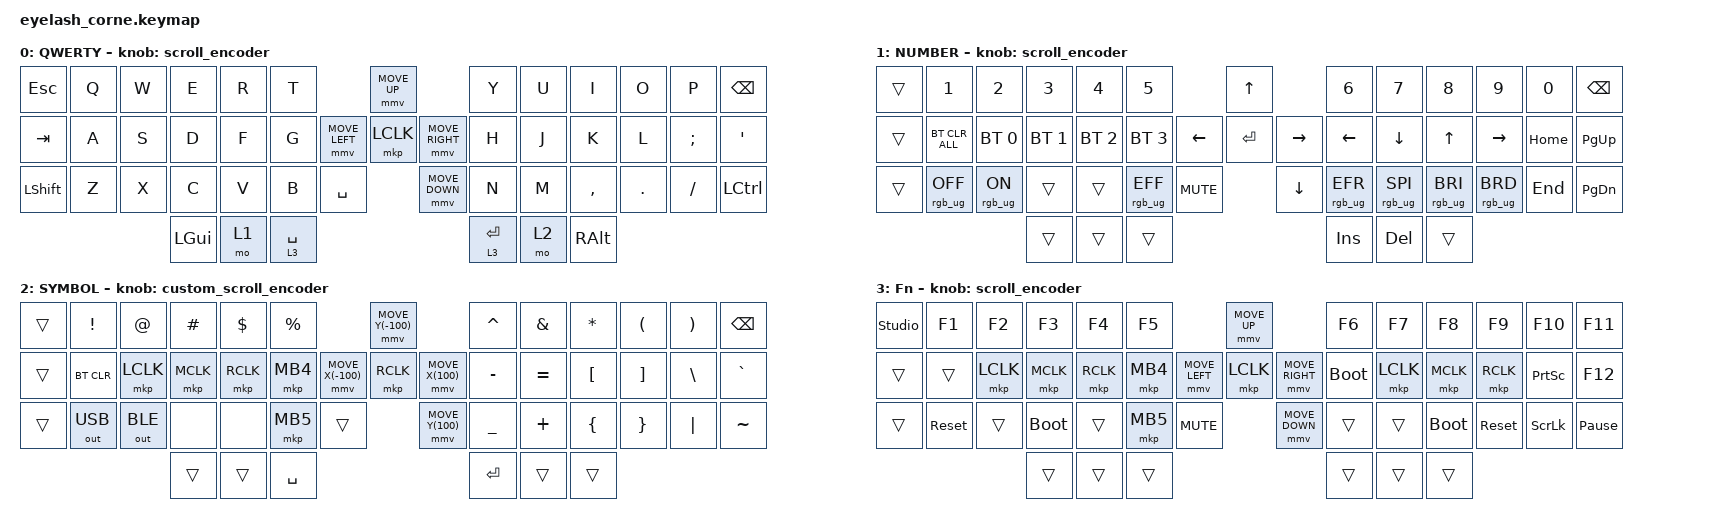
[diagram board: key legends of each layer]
#include <dt-bindings/zmk/mouse.h>
#include <input/processors.dtsi>
#include <behaviors.dtsi>
#include <dt-bindings/zmk/bt.h>
#include <dt-bindings/zmk/keys.h>
#include <dt-bindings/zmk/outputs.h>
#include <dt-bindings/zmk/pointing.h>
#include <dt-bindings/zmk/rgb.h>

#define ZMK_POINTING_DEFAULT_MOVE_VAL 1200  // default: 600
#define ZMK_POINTING_DEFAULT_SCRL_VAL 20    // default: 10

#include <dt-bindings/zmk/pointing.h>
/*

   &mmv_input_listener {
       input-processors = <&zip_xy_scaler 2 1>;
   };

   &msc_input_listener {
       input-processors = <&zip_xy_scaler 2 1>;
   };

 */

#define ZMK_MOUSE_DEFAULT_MOVE_VAL 1200  // 600
#define ZMK_MOUSE_DEFAULT_SCRL_VAL 20    // 10

/ {
    behaviors {
        td0: td0 {
            compatible = "zmk,behavior-tap-dance";
            display-name = "Shift/Caps Lock Tap Dance";
            #binding-cells = <0>;
            bindings = <&kp LEFT_SHIFT>, <&kp CAPS>;
        };
       rgb_encoder: rgb_encoder {
           compatible = "zmk,behavior-sensor-rotate";
           #sensor-binding-cells = <0>;
           bindings = <&rgb_ug RGB_BRI>, <&rgb_ug RGB_BRD>;
       };
   
       scroll_encoder: scroll_encoder {
           compatible = "zmk,behavior-sensor-rotate";
           #sensor-binding-cells = <0>;
           bindings = <&msc SCRL_DOWN>, <&msc SCRL_UP>;
   
           tap-ms = <30>;
       };
   
       custom_scroll_encoder: custom_scroll_encoder {
          compatible = "zmk,behavior-sensor-rotate";
          #sensor-binding-cells = <0>;
          bindings = <&msc SCRL_RIGHT>, <&msc SCRL_LEFT>;
   
          tap-ms = <30>;
       };
    };





    keymap {
        compatible = "zmk,keymap";

        default_layer {
            display-name = "QWERTY";
            bindings = <
&kp ESC    &kp Q  &kp W  &kp E     &kp R  &kp T                                     &mmv MOVE_UP                     &kp Y        &kp U  &kp I      &kp O    &kp P     &kp BSPC
&kp TAB    &kp A  &kp S  &kp D     &kp F  &kp G                     &mmv MOVE_LEFT  &mkp LCLK       &mmv MOVE_RIGHT  &kp H        &kp J  &kp K      &kp L    &kp SEMI  &kp SQT
&kp LSHFT  &kp Z  &kp X  &kp C     &kp V  &kp B        &kp SPACE                    &mmv MOVE_DOWN                   &kp N        &kp M  &kp COMMA  &kp DOT  &kp FSLH  &kp LCTRL
                         &kp LGUI  &mo 1  &lt 3 SPACE                                                                &lt 3 ENTER  &mo 2  &kp RALT
            >;

            sensor-bindings = <&scroll_encoder>;
        };

        lower_layer {
            display-name = "NUMBER";
            bindings = <
&trans  &kp N1           &kp N2          &kp N3        &kp N4        &kp N5                                         &kp UP_ARROW               &kp N6           &kp N7           &kp N8           &kp N9           &kp N0    &kp BSPC
&trans  &bt BT_CLR_ALL   &bt BT_SEL 0    &bt BT_SEL 1  &bt BT_SEL 2  &bt BT_SEL 3                   &kp LEFT_ARROW  &kp ENTER       &kp RIGHT  &kp LEFT         &kp DOWN         &kp UP           &kp RIGHT        &kp HOME  &kp PG_UP
&trans  &rgb_ug RGB_OFF  &rgb_ug RGB_ON  &trans        &trans        &rgb_ug RGB_EFF  &kp C_MUTE                    &kp DOWN_ARROW             &rgb_ug RGB_EFR  &rgb_ug RGB_SPI  &rgb_ug RGB_BRI  &rgb_ug RGB_BRD  &kp END   &kp PG_DN
                                         &trans        &trans        &trans                                                                    &kp INS          &kp DEL          &trans
            >;

            sensor-bindings = <&scroll_encoder>;
        };

        raise_layer {
            display-name = "SYMBOL";
            bindings = <
&trans  &kp EXCL      &kp AT        &kp HASH   &kp DLLR   &kp PRCNT                            &mmv MOVE_Y(-100)                     &kp CARET  &kp AMPS   &kp ASTRK  &kp LPAR  &kp RPAR  &kp BSPC
&trans  &bt BT_CLR    &mkp LCLK     &mkp MCLK  &mkp RCLK  &mkp MB4             &mmv MOVE_X(-100)  &mkp RCLK       &mmv MOVE_X(100)  &kp MINUS  &kp EQUAL  &kp LBKT   &kp RBKT  &kp BSLH  &kp GRAVE
&trans  &out OUT_USB  &out OUT_BLE  &none      &none      &mkp MB5   &trans                    &mmv MOVE_Y(100)                   &kp UNDER  &kp PLUS   &kp LBRC   &kp RBRC  &kp PIPE  &kp TILDE
                                    &trans     &trans     &kp SPACE                                                             &kp RET    &trans     &trans
            >;

            sensor-bindings = <&custom_scroll_encoder>;
        };

        layer_3 {
            display-name = "Fn";
            bindings = <
&studio_unlock  &kp F1      &kp F2     &kp F3       &kp F4     &kp F5                                  &mmv MOVE_UP                     &kp F6       &kp F7     &kp F8       &kp F9      &kp F10          &kp F11
&trans          &trans      &mkp LCLK  &mkp MCLK    &mkp RCLK  &mkp MB4                &mmv MOVE_LEFT  &mkp LCLK       &mmv MOVE_RIGHT  &bootloader  &mkp LCLK  &mkp MCLK    &mkp RCLK   &kp PRINTSCREEN  &kp F12
&trans          &sys_reset  &trans     &bootloader  &trans     &mkp MB5  &kp C_MUTE                    &mmv MOVE_DOWN                   &trans       &trans     &bootloader  &sys_reset  &kp SCROLLLOCK   &kp PAUSE_BREAK
                                       &trans       &trans     &trans                                                                   &trans       &trans     &trans
            >;

            sensor-bindings = <&scroll_encoder>;
        };
    };
};
